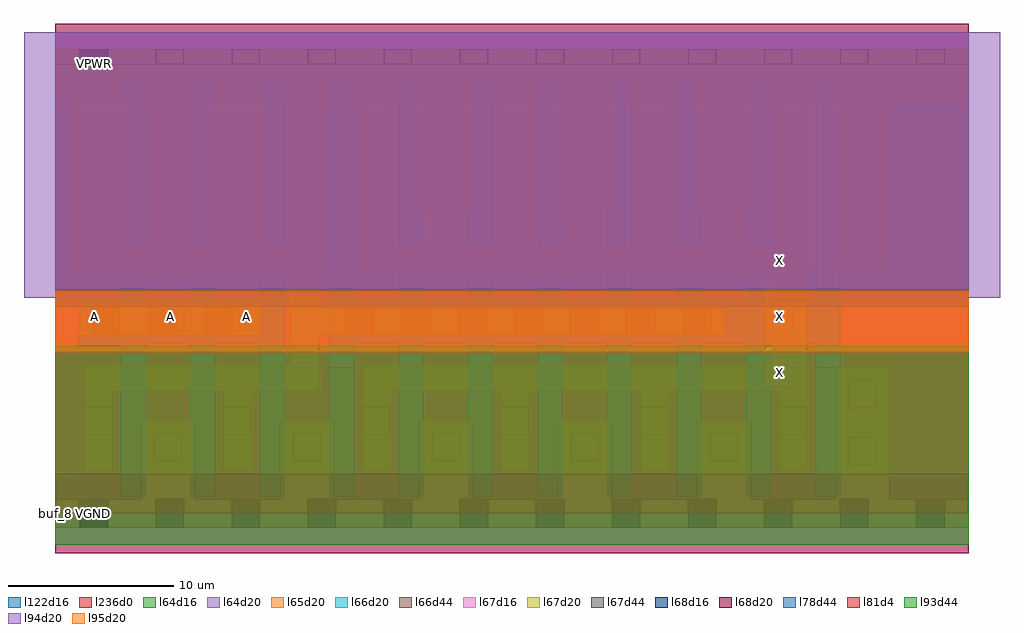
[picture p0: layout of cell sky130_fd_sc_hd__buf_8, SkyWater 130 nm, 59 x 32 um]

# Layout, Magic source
magic
tech sky130a
<< l66d20 >>
rect 395 105 545 1015
rect 140 1015 545 1025
rect 815 105 965 1025
rect 1235 105 1385 1025
rect 140 1025 1385 1295
rect 140 1295 545 1305
rect 395 1305 545 2615
rect 815 1295 965 2615
rect 1235 1295 1385 2615
rect 1655 105 1805 1025
rect 2075 105 2225 1025
rect 2495 105 2645 1025
rect 2915 105 3065 1025
rect 3335 105 3485 1025
rect 3755 105 3905 1025
rect 4175 105 4325 1025
rect 4595 105 4745 1025
rect 1655 1025 4745 1295
rect 1655 1295 1805 2615
rect 2075 1295 2225 2615
rect 2495 1295 2645 2615
rect 2915 1295 3065 2615
rect 3335 1295 3485 2615
rect 3755 1295 3905 2615
rect 4175 1295 4325 2615
rect 4595 1295 4745 2615
<< l94d20 >>
rect 0 1355 5520 2910
<< l66d44 >>
rect 4795 1575 4965 1745
rect 4795 635 4965 805
rect 4795 295 4965 465
rect 3115 315 3285 485
rect 3455 1075 3625 1245
rect 3535 1670 3705 1840
rect 3535 475 3705 645
rect 3115 1915 3285 2085
rect 2695 1670 2865 1840
rect 2275 1915 2445 2085
rect 4795 1915 4965 2085
rect 3955 2255 4125 2425
rect 3955 1915 4125 2085
rect 3955 315 4125 485
rect 4375 2145 4545 2315
rect 4375 1670 4545 1840
rect 175 2225 345 2395
rect 175 1885 345 2055
rect 175 1545 345 1715
rect 175 475 345 645
rect 220 1075 390 1245
rect 560 1075 730 1245
rect 595 2255 765 2425
rect 595 1915 765 2085
rect 595 315 765 485
rect 900 1075 1070 1245
rect 1015 2225 1185 2395
rect 1015 1885 1185 2055
rect 1015 1545 1185 1715
rect 1015 475 1185 645
rect 1435 2255 1605 2425
rect 1435 1915 1605 2085
rect 1435 315 1605 485
rect 1755 1075 1925 1245
rect 1855 2145 2025 2315
rect 1855 1670 2025 1840
rect 4375 475 4545 645
rect 4795 2255 4965 2425
rect 1855 475 2025 645
rect 2095 1075 2265 1245
rect 2275 2255 2445 2425
rect 2275 315 2445 485
rect 2435 1075 2605 1245
rect 2695 2145 2865 2315
rect 2695 475 2865 645
rect 2775 1075 2945 1245
rect 3115 2255 3285 2425
rect 3115 1075 3285 1245
rect 3795 1075 3965 1245
rect 3535 2145 3705 2315
<< l67d44 >>
rect 145 2635 315 2805
rect 145 -85 315 85
rect 605 2635 775 2805
rect 605 -85 775 85
rect 1065 2635 1235 2805
rect 1065 -85 1235 85
rect 1525 2635 1695 2805
rect 1525 -85 1695 85
rect 1985 2635 2155 2805
rect 1985 -85 2155 85
rect 2445 2635 2615 2805
rect 2445 -85 2615 85
rect 2905 2635 3075 2805
rect 2905 -85 3075 85
rect 3365 2635 3535 2805
rect 3365 -85 3535 85
rect 3825 2635 3995 2805
rect 3825 -85 3995 85
rect 4285 2635 4455 2805
rect 4285 -85 4455 85
rect 4745 2635 4915 2805
rect 4745 -85 4915 85
rect 5205 2635 5375 2805
rect 5205 -85 5375 85
<< l95d20 >>
rect 0 975 5520 1345
<< l67d20 >>
rect 175 255 345 735
rect 1015 260 1185 735
rect 175 735 1595 905
rect 1420 905 1595 1075
rect 1420 1075 4045 1245
rect 1420 1245 1595 1445
rect 95 1445 1595 1615
rect 95 1615 425 2465
rect 935 1615 1265 2465
rect 0 -85 5520 85
rect 515 85 845 565
rect 1355 85 1685 565
rect 2195 85 2525 565
rect 3035 85 3365 565
rect 3875 85 4205 565
rect 4715 85 5045 885
rect 595 1835 765 2635
rect 1435 1835 1605 2635
rect 2195 1835 2525 2635
rect 3035 1835 3365 2635
rect 3875 1835 4205 2635
rect 4715 1485 5045 2635
rect 0 2635 5520 2805
rect 1855 255 2025 735
rect 2695 255 2865 735
rect 3535 255 3705 735
rect 4375 255 4545 735
rect 1855 735 4545 905
rect 4290 905 4545 1445
rect 1855 1445 4545 1615
rect 1855 1615 2025 2465
rect 2695 1615 2865 2465
rect 3535 1615 3705 2465
rect 4375 1615 4545 2465
rect 140 1075 1240 1275
<< l68d20 >>
rect 0 2480 5520 2960
rect 0 -240 5520 240
<< l65d20 >>
rect 135 1485 5005 2485
rect 135 235 5005 885
<< l93d44 >>
rect 0 -190 5520 1015
<< l64d20 >>
rect -190 1305 5710 2910
<< l68d16 >>
rect 150 -85 320 85
rect 150 2635 320 2805
<< l236d0 >>
rect 0 0 5520 2720
<< l122d16 >>
rect 150 -85 320 85
<< l64d16 >>
rect 150 2635 320 2805
<< l81d4 >>
rect 0 0 5520 2720
<< l78d44 >>
rect 0 1250 5520 2720
<< l67d16 >>
rect 150 1105 320 1275
rect 610 1105 780 1275
rect 1070 1105 1240 1275
rect 4290 1445 4460 1615
rect 4290 1105 4460 1275
rect 4290 765 4460 935
rect 150 -85 320 85
rect 150 2635 320 2805
<< labels >>
rlabel l67d5 1155 1190 1155 1190 0 A
rlabel l67d5 4375 850 4375 850 0 X
rlabel l67d5 4375 1190 4375 1190 0 X
rlabel l67d5 695 1190 695 1190 0 A
rlabel l67d5 230 0 230 0 0 VGND
rlabel l67d5 235 2720 235 2720 0 VPWR
rlabel l67d5 4375 1530 4375 1530 0 X
rlabel l67d5 235 1190 235 1190 0 A
rlabel l64d59 235 0 235 0 0 VNB
rlabel l64d5 235 2720 235 2720 0 VPB
rlabel l68d5 230 0 230 0 0 VGND
rlabel l68d5 235 2720 235 2720 0 VPWR
rlabel l83d44 0 0 0 0 0 buf_8
<< end >>
